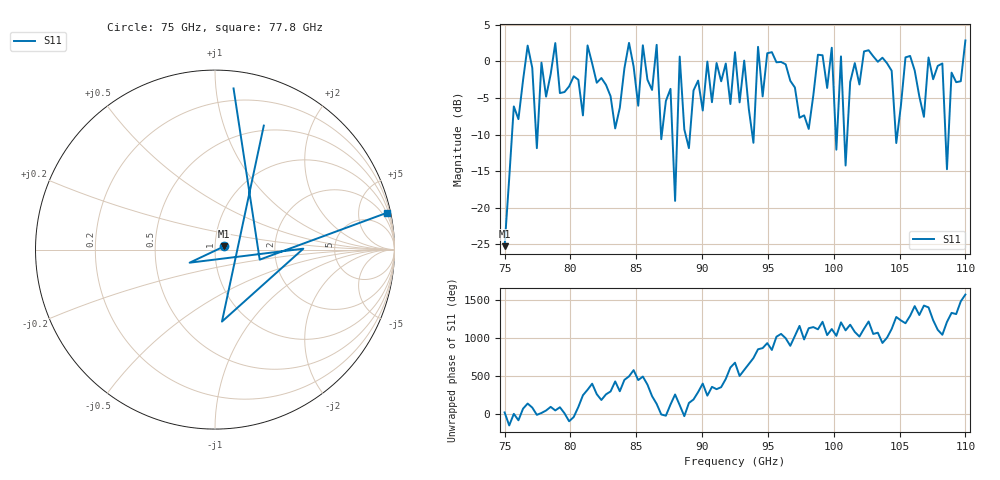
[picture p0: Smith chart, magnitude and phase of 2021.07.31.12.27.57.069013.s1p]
!Created with skrf (http://scikit-rf.org).
# GHz S RI R 50.0
!freq ReS11 ImS11
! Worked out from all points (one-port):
!   101 points, 75 GHz to 110 GHz, reference 50 ohm
!   lowest |S11| = -25.3 dB at 75 GHz (marker M1), VSWR 1.12, Z = 55.4 + j2.02 ohm
!   |S11| at or under -10 dB: start of sweep to 75.56 GHz; 77.39072 GHz to 77.5057 GHz (115 MHz wide, 0.148 % of centre); 86.88268 GHz to 86.94275 GHz (60.07 MHz wide, 0.0691 % of centre) (the widest 3 of 10)
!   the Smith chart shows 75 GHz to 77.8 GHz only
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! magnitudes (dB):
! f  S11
! 75 GHz  -25.3
! 76.75 GHz  2.2
! 77.45 GHz  -11.9
! 77.8 GHz  -0.2
! 79.55 GHz  -4.2
! 83.75 GHz  -6.3
! 86.55 GHz  2.3
! 86.9 GHz  -10.6
! 87.6 GHz  -3.8
! 87.95 GHz  -19.1
! 88.3 GHz  0.6
! 89 GHz  -11.9
! 92.5 GHz  1.3
! 93.9 GHz  -11.1
! 94.25 GHz  2.0
! 97.05 GHz  -3.6
! 99.85 GHz  1.9
! 100.2 GHz  -12.1
! 100.5 GHz  0.7
! 100.9 GHz  -14.2
! 101.2 GHz  -2.8
! 104 GHz  -0.3
! 104.8 GHz  -11.2
! 105.8 GHz  0.7
! 108.2 GHz  -0.3
! 108.6 GHz  -14.7
! 109 GHz  -1.5
! 110 GHz  2.9
